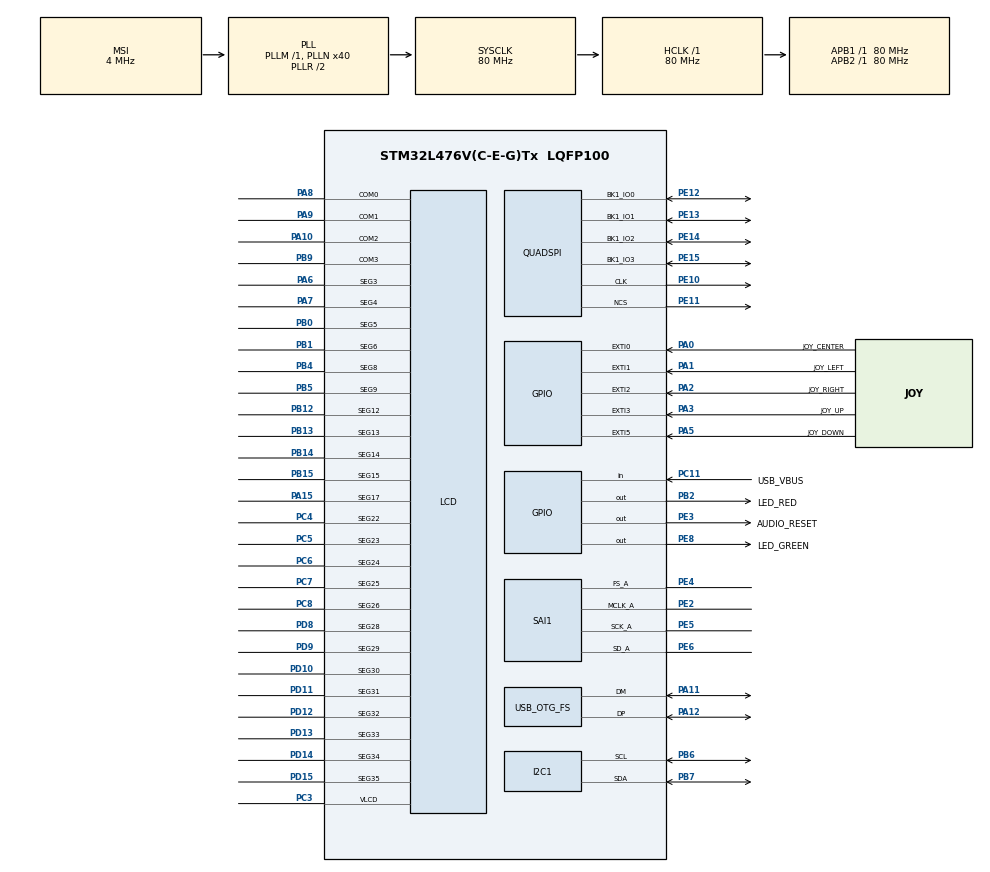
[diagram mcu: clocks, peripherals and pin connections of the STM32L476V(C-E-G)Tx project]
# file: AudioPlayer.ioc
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Dma.Request0=SAI1_A
Dma.SAI1_A.0.Direction=DMA_MEMORY_TO_PERIPH
Dma.SAI1_A.0.Instance=DMA2_Channel1
Dma.SAI1_A.0.MemDataAlignment=DMA_MDATAALIGN_HALFWORD
Dma.SAI1_A.0.MemInc=DMA_MINC_ENABLE
Dma.SAI1_A.0.Mode=DMA_CIRCULAR
Dma.SAI1_A.0.PeriphDataAlignment=DMA_PDATAALIGN_HALFWORD
Dma.SAI1_A.0.PeriphInc=DMA_PINC_DISABLE
Dma.SAI1_A.0.Priority=DMA_PRIORITY_HIGH
FATFS._MAX_SS=4096
FATFS._MIN_SS=4096
FATFS._USE_BUFF_WO_ALIGNMENT=2
FATFS._USE_ERASE=0
FREERTOS.Mutexes01=qspiMutex,Dynamic,NULL
FREERTOS.Queues01=joystickInputQueue,1,uint16_t,NULL,Dynamic,NULL,NULL
FREERTOS.Tasks01=appTask,0,4096,appTaskBody,Default,NULL,Dynamic,NULL,NULL;usbTask,2,256,usbTaskBody,Default,NULL,Dynamic,NULL,NULL;audioTask,0,1024,audioTaskBody,Default,NULL,Dynamic,NULL,NULL;displayTask,0,128,displayTaskBody,Default,NULL,Dynamic,NULL,NULL
FREERTOS.configTOTAL_HEAP_SIZE=32768
FREERTOS.configUSE_ALTERNATIVE_API=0
I2C1.I2C_Fall_Time=20
I2C1.I2C_Rise_Time=640
I2C1.OwnAddress2Masks=I2C_OA2_NOMASK
I2C1.Timing=0x40E03E53
LCD.Bias=LCD_BIAS_1_3
LCD.Contrast=LCD_CONTRASTLEVEL_5
LCD.Divider=LCD_DIVIDER_31
LCD.PulseOnDuration=LCD_PULSEONDURATION_5
Mcu.Family=STM32L4
Mcu.Name=STM32L476V(C-E-G)Tx
Mcu.Package=LQFP100
Mcu.UserConstants=A,0x1;B,0x2
NVIC.DMA2_Channel1_IRQn=true\:5\:0\:false\:false\:true\:true
NVIC.EXTI0_IRQn=true\:5\:0\:true\:false\:true\:false
NVIC.EXTI1_IRQn=true\:5\:0\:true\:false\:true\:false
NVIC.EXTI2_IRQn=true\:5\:0\:true\:false\:true\:false
NVIC.EXTI3_IRQn=true\:5\:0\:true\:false\:true\:false
NVIC.EXTI9_5_IRQn=true\:5\:0\:true\:false\:true\:false
NVIC.I2C1_ER_IRQn=true\:0\:0\:false\:false\:true\:false
NVIC.I2C1_EV_IRQn=true\:0\:0\:false\:false\:true\:false
NVIC.OTG_FS_IRQn=true\:5\:0\:false\:false\:true\:true
NVIC.PriorityGroup=NVIC_PRIORITYGROUP_4
PA0.GPIO_Label=JOY_CENTER
PA0.GPIO_PuPd=GPIO_PULLDOWN
PA0.Signal=GPXTI0
PA1.GPIO_Label=JOY_LEFT
PA1.GPIO_PuPd=GPIO_PULLDOWN
PA1.Signal=GPXTI1
PA10.Mode=1/4 Duty Cycle
PA10.Signal=LCD_COM2
PA11.Mode=Device_Only
PA11.Signal=USB_OTG_FS_DM
PA12.Mode=Device_Only
PA12.Signal=USB_OTG_FS_DP
PA13.Mode=Serial_Wire
PA13.Signal=SYS_JTMS-SWDIO
PA14.Mode=Serial_Wire
PA14.Signal=SYS_JTCK-SWCLK
PA15.Mode=SEG17
PA15.Signal=LCD_SEG17
PA2.GPIO_Label=JOY_RIGHT
PA2.GPIO_PuPd=GPIO_PULLDOWN
PA2.Signal=GPXTI2
PA3.GPIO_Label=JOY_UP
PA3.GPIO_PuPd=GPIO_PULLDOWN
PA3.Signal=GPXTI3
PA5.GPIO_Label=JOY_DOWN
PA5.GPIO_PuPd=GPIO_PULLDOWN
PA5.Signal=GPXTI5
PA6.Mode=SEG3
PA6.Signal=LCD_SEG3
PA7.Mode=SEG4
PA7.Signal=LCD_SEG4
PA8.Mode=1/4 Duty Cycle
PA8.Signal=LCD_COM0
PA9.Mode=1/4 Duty Cycle
PA9.Signal=LCD_COM1
PB0.Mode=SEG5
PB0.Signal=LCD_SEG5
PB1.Mode=SEG6
PB1.Signal=LCD_SEG6
PB12.Mode=SEG12
PB12.Signal=LCD_SEG12
PB13.Mode=SEG13
PB13.Signal=LCD_SEG13
PB14.Mode=SEG14
PB14.Signal=LCD_SEG14
PB15.Mode=SEG15
PB15.Signal=LCD_SEG15
PB2.GPIO_Label=LED_RED
PB2.Signal=GPIO_Output
PB4.Mode=SEG8
PB4.Signal=LCD_SEG8
PB5.Mode=SEG9
PB5.Signal=LCD_SEG9
PB6.Mode=I2C
PB6.Signal=I2C1_SCL
PB7.Mode=I2C
PB7.Signal=I2C1_SDA
PB9.Mode=1/4 Duty Cycle
PB9.Signal=LCD_COM3
PC11.GPIO_Label=USB_VBUS
PC11.Signal=GPIO_Input
PC14/OSC32_IN.Mode=LSE-External-Oscillator
PC14/OSC32_IN.Signal=RCC_OSC32_IN
PC15/OSC32_OUT.Mode=LSE-External-Oscillator
PC15/OSC32_OUT.Signal=RCC_OSC32_OUT
PC3.Mode=1/4 Duty Cycle
PC3.Signal=LCD_VLCD
PC4.Mode=SEG22
PC4.Signal=LCD_SEG22
PC5.Mode=SEG23
PC5.Signal=LCD_SEG23
PC6.Mode=SEG24
PC6.Signal=LCD_SEG24
PC7.Mode=SEG25
PC7.Signal=LCD_SEG25
PC8.Mode=SEG26
PC8.Signal=LCD_SEG26
PD10.Mode=SEG30
PD10.Signal=LCD_SEG30
PD11.Mode=SEG31
PD11.Signal=LCD_SEG31
PD12.Mode=SEG32
PD12.Signal=LCD_SEG32
PD13.Mode=SEG33
PD13.Signal=LCD_SEG33
PD14.Mode=SEG34
PD14.Signal=LCD_SEG34
PD15.Mode=SEG35
PD15.Signal=LCD_SEG35
PD8.Mode=SEG28
PD8.Signal=LCD_SEG28
PD9.Mode=SEG29
PD9.Signal=LCD_SEG29
PE10.Mode=Single Bank
PE10.Signal=QUADSPI_CLK
PE11.Mode=Single Bank
PE11.Signal=QUADSPI_NCS
PE12.Mode=Single Bank
PE12.Signal=QUADSPI_BK1_IO0
PE13.Mode=Single Bank
PE13.Signal=QUADSPI_BK1_IO1
PE14.Mode=Single Bank
PE14.Signal=QUADSPI_BK1_IO2
PE15.Mode=Single Bank
PE15.Signal=QUADSPI_BK1_IO3
PE2.Mode=SAI_A_MasterWithClock
PE2.Signal=SAI1_MCLK_A
PE3.GPIO_Label=AUDIO_RESET
PE3.Signal=GPIO_Output
PE4.Mode=SAI_A_MasterWithClock
PE4.Signal=SAI1_FS_A
PE5.Mode=SAI_A_MasterWithClock
PE5.Signal=SAI1_SCK_A
PE6.Mode=SAI_A_MasterWithClock
PE6.Signal=SAI1_SD_A
PE8.GPIO_Label=LED_GREEN
PE8.Signal=GPIO_Output
ProjectManager.HeapSize=0x200
ProjectManager.StackSize=0x400
ProjectManager.TargetToolchain=TrueSTUDIO
QUADSPI.ClockPrescaler-Single\ Bank=0
QUADSPI.FifoThreshold-Single\ Bank=4
QUADSPI.FlashSize-Single\ Bank=0x17
RCC.ADCFreq_Value=96000000
RCC.AHBFreq_Value=80000000
RCC.APB1Freq_Value=80000000
RCC.APB1TimFreq_Value=80000000
RCC.APB2Freq_Value=80000000
RCC.APB2TimFreq_Value=80000000
RCC.ClockTypeHCLK=RCC_CLOCKTYPE_HCLK
RCC.ClockTypePCLK1=RCC_CLOCKTYPE_PCLK1
RCC.ClockTypePCLK2=RCC_CLOCKTYPE_PCLK2
RCC.ClockTypeSysClk=RCC_CLOCKTYPE_SYSCLK
RCC.CortexFreq_Value=80000000
RCC.EnableCSSLSE=false
RCC.EnbaleCSS=false
RCC.HCLKFreq_Value=80000000
RCC.HSE_VALUE=8000000
RCC.HSI_VALUE=16000000
RCC.MSI_VALUE=4000000
RCC.PLLN=40
RCC.PLLSAI1N=48
RCC.PLLSAI1P=RCC_PLLP_DIV17
RCC.PLLSAI1Q=RCC_PLLQ_DIV4
RCC.SYSCLKFreq_VALUE=80000000
RCC.SYSCLKSource=RCC_SYSCLKSOURCE_PLLCLK
RCC.USBFreq_Value=48000000
RCC.VCOOutputFreq_Value=160000000
SAI1.ActiveFrameLength-SAI_A_MasterWithClock=16
SAI1.AudioFrequency-SAI_A_MasterWithClock=SAI_AUDIO_FREQUENCY_44K
SAI1.ClockStrobing-SAI_A_MasterWithClock=SAI_CLOCKSTROBING_RISINGEDGE
SAI1.DataSize-SAI_A_MasterWithClock=SAI_DATASIZE_16
SAI1.ErrorAudioFreq-SAI_A_MasterWithClock=-77.02 %
SAI1.FIFOThreshold-SAI_A_MasterWithClock=SAI_FIFOTHRESHOLD_1QF
SAI1.FSDefinition-SAI_A_MasterWithClock=SAI_FS_CHANNEL_IDENTIFICATION
SAI1.FSOffset-SAI_A_MasterWithClock=SAI_FS_BEFOREFIRSTBIT
SAI1.FrameLength-SAI_A_MasterWithClock=32
SAI1.Instance-SAI_A_MasterWithClock=SAI$Index_Block_A
SAI1.MClockEnable-SAI_A_MasterWithClock=SAI_MASTERCLOCK_ENABLE
SAI1.OutputDrive-SAI_A_MasterWithClock=SAI_OUTPUTDRIVE_ENABLE
SAI1.RealAudioFreq-SAI_A_MasterWithClock=44.117 KHz
SAI1.SlotActive-SAI_A_MasterWithClock=0x00000003
SAI1.SlotNumber-SAI_A_MasterWithClock=2
SAI1.Synchro-SAI_A_MasterWithClock=SAI_ASYNCHRONOUS
SAI1.VirtualMode-SAI_A_MasterWithClock=VM_MASTER
SAI1.VirtualSlotActive-SAI_A_MasterWithClock=SAI_SLOT_USERSETTING
SAI1.VirtualSlotActive0-SAI_A_MasterWithClock=true
SAI1.VirtualSlotActive1-SAI_A_MasterWithClock=true
USB_DEVICE.CLASS_NAME_FS=MSC
USB_DEVICE.MSC_MEDIA_PACKET=4096
USB_DEVICE.USBD_HandleTypeDef_FS=hUsbDevice_OTG_FS
USB_DEVICE.USBD_LPM_ENABLED=0
USB_DEVICE.VirtualMode=Msc
USB_DEVICE.VirtualModeFS=Msc_FS
USB_OTG_FS.VirtualMode=Device_Only
USB_OTG_FS.dev_endpoints=6
USB_OTG_FS.phy_itface=PCD_PHY_EMBEDDED
USB_OTG_FS.vbus_sensing_enable=DISABLE
VP_FATFS_VS_Generic.Mode=User_defined
VP_FREERTOS_VS_ENABLE.Mode=Enabled
VP_USB_DEVICE_VS_USB_DEVICE_MSC_FS.Mode=MSC_FS
board=AudioPlayer

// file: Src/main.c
/**
  ******************************************************************************
  * File Name          : main.c
  * Description        : Main program body
  ******************************************************************************
  *
  * Copyright (c) 2017 STMicroelectronics International N.V.
  * All rights reserved.
  *
  * Redistribution and use in source and binary forms, with or without
  * modification, are permitted, provided that the following conditions are met:
  *
  * 1. Redistribution of source code must retain the above copyright notice,
  *    this list of conditions and the following disclaimer.
  * 2. Redistributions in binary form must reproduce the above copyright notice,
  *    this list of conditions and the following disclaimer in the documentation
  *    and/or other materials provided with the distribution.
  * 3. Neither the name of STMicroelectronics nor the names of other
  *    contributors to this software may be used to endorse or promote products
  *    derived from this software without specific written permission.
  * 4. This software, including modifications and/or derivative works of this
  *    software, must execute solely and exclusively on microcontroller or
  *    microprocessor devices manufactured by or for STMicroelectronics.
  * 5. Redistribution and use of this software other than as permitted under
  *    this license is void and will automatically terminate your rights under
  *    this license.
  *
  * THIS SOFTWARE IS PROVIDED BY STMICROELECTRONICS AND CONTRIBUTORS "AS IS"
  * AND ANY EXPRESS, IMPLIED OR STATUTORY WARRANTIES, INCLUDING, BUT NOT
  * LIMITED TO, THE IMPLIED WARRANTIES OF MERCHANTABILITY, FITNESS FOR A
  * PARTICULAR PURPOSE AND NON-INFRINGEMENT OF THIRD PARTY INTELLECTUAL PROPERTY
  * RIGHTS ARE DISCLAIMED TO THE FULLEST EXTENT PERMITTED BY LAW. IN NO EVENT
  * SHALL STMICROELECTRONICS OR CONTRIBUTORS BE LIABLE FOR ANY DIRECT, INDIRECT,
  * INCIDENTAL, SPECIAL, EXEMPLARY, OR CONSEQUENTIAL DAMAGES (INCLUDING, BUT NOT
  * LIMITED TO, PROCUREMENT OF SUBSTITUTE GOODS OR SERVICES; LOSS OF USE, DATA,
  * OR PROFITS; OR BUSINESS INTERRUPTION) HOWEVER CAUSED AND ON ANY THEORY OF
  * LIABILITY, WHETHER IN CONTRACT, STRICT LIABILITY, OR TORT (INCLUDING
  * NEGLIGENCE OR OTHERWISE) ARISING IN ANY WAY OUT OF THE USE OF THIS SOFTWARE,
  * EVEN IF ADVISED OF THE POSSIBILITY OF SUCH DAMAGE.
  *
  ******************************************************************************
  */
#include "main.h"
#include "stm32l4xx_hal.h"
#include "cmsis_os.h"
#include "dma.h"
#include "fatfs.h"
#include "i2c.h"
#include "lcd.h"
#include "quadspi.h"
#include "sai.h"
#include "usb_device.h"
#include "gpio.h"

/* USER CODE BEGIN PV */
/* Private variables ---------------------------------------------------------*/

/* USER CODE END PV */

void SystemClock_Config(void);
void Error_Handler(void);
void MX_FREERTOS_Init(void);

/* USER CODE BEGIN PFP */
/* Private function prototypes -----------------------------------------------*/

/* USER CODE END PFP */

int main(void)
{

  /* MCU Configuration----------------------------------------------------------*/

  /* Reset of all peripherals, Initializes the Flash interface and the Systick. */
  HAL_Init();

  /* Configure the system clock */
  SystemClock_Config();

  /* Initialize all configured peripherals */
  MX_GPIO_Init();
  MX_DMA_Init();
  MX_QUADSPI_Init();
  MX_I2C1_Init();
  MX_SAI1_Init();
  MX_LCD_Init();

  /* Call init function for freertos objects (in freertos.c) */
  MX_FREERTOS_Init();

  /* Start scheduler */
  osKernelStart();

  /* We should never get here as control is now taken by the scheduler */

  /* Infinite loop */
  while (1)
  {

  }

}

/** System Clock Configuration
*/
void SystemClock_Config(void)
{

  RCC_OscInitTypeDef RCC_OscInitStruct;
  RCC_ClkInitTypeDef RCC_ClkInitStruct;
  RCC_PeriphCLKInitTypeDef PeriphClkInit;

    /**Initializes the CPU, AHB and APB busses clocks
    */
  RCC_OscInitStruct.OscillatorType = RCC_OSCILLATORTYPE_LSI|RCC_OSCILLATORTYPE_LSE
                              |RCC_OSCILLATORTYPE_MSI;
  RCC_OscInitStruct.LSEState = RCC_LSE_ON;
  RCC_OscInitStruct.LSIState = RCC_LSI_ON;
  RCC_OscInitStruct.MSIState = RCC_MSI_ON;
  RCC_OscInitStruct.MSICalibrationValue = 0;
  RCC_OscInitStruct.MSIClockRange = RCC_MSIRANGE_6;
  RCC_OscInitStruct.PLL.PLLState = RCC_PLL_ON;
  RCC_OscInitStruct.PLL.PLLSource = RCC_PLLSOURCE_MSI;
  RCC_OscInitStruct.PLL.PLLM = 1;
  RCC_OscInitStruct.PLL.PLLN = 40;
  RCC_OscInitStruct.PLL.PLLP = RCC_PLLP_DIV7;
  RCC_OscInitStruct.PLL.PLLQ = RCC_PLLQ_DIV2;
  RCC_OscInitStruct.PLL.PLLR = RCC_PLLR_DIV2;
  if (HAL_RCC_OscConfig(&RCC_OscInitStruct) != HAL_OK)
  {
    Error_Handler();
  }

    /**Initializes the CPU, AHB and APB busses clocks
    */
  RCC_ClkInitStruct.ClockType = RCC_CLOCKTYPE_HCLK|RCC_CLOCKTYPE_SYSCLK
                              |RCC_CLOCKTYPE_PCLK1|RCC_CLOCKTYPE_PCLK2;
  RCC_ClkInitStruct.SYSCLKSource = RCC_SYSCLKSOURCE_PLLCLK;
  RCC_ClkInitStruct.AHBCLKDivider = RCC_SYSCLK_DIV1;
  RCC_ClkInitStruct.APB1CLKDivider = RCC_HCLK_DIV1;
  RCC_ClkInitStruct.APB2CLKDivider = RCC_HCLK_DIV1;

  if (HAL_RCC_ClockConfig(&RCC_ClkInitStruct, FLASH_LATENCY_4) != HAL_OK)
  {
    Error_Handler();
  }

  PeriphClkInit.PeriphClockSelection = RCC_PERIPHCLK_RTC|RCC_PERIPHCLK_SAI1
                              |RCC_PERIPHCLK_I2C1|RCC_PERIPHCLK_USB;
  PeriphClkInit.I2c1ClockSelection = RCC_I2C1CLKSOURCE_PCLK1;
  PeriphClkInit.Sai1ClockSelection = RCC_SAI1CLKSOURCE_PLLSAI1;
  PeriphClkInit.RTCClockSelection = RCC_RTCCLKSOURCE_LSI;
  PeriphClkInit.UsbClockSelection = RCC_USBCLKSOURCE_PLLSAI1;
  PeriphClkInit.PLLSAI1.PLLSAI1Source = RCC_PLLSOURCE_MSI;
  PeriphClkInit.PLLSAI1.PLLSAI1M = 1;
  PeriphClkInit.PLLSAI1.PLLSAI1N = 48;
  PeriphClkInit.PLLSAI1.PLLSAI1P = RCC_PLLP_DIV17;
  PeriphClkInit.PLLSAI1.PLLSAI1Q = RCC_PLLQ_DIV4;
  PeriphClkInit.PLLSAI1.PLLSAI1R = RCC_PLLR_DIV2;
  PeriphClkInit.PLLSAI1.PLLSAI1ClockOut = RCC_PLLSAI1_SAI1CLK|RCC_PLLSAI1_48M2CLK;
  if (HAL_RCCEx_PeriphCLKConfig(&PeriphClkInit) != HAL_OK)
  {
    Error_Handler();
  }

    /**Configure LSE Drive Capability
    */
  __HAL_RCC_LSEDRIVE_CONFIG(RCC_LSEDRIVE_LOW);

    /**Configure the main internal regulator output voltage
    */
  if (HAL_PWREx_ControlVoltageScaling(PWR_REGULATOR_VOLTAGE_SCALE1) != HAL_OK)
  {
    Error_Handler();
  }

    /**Configure the Systick interrupt time
    */
  HAL_SYSTICK_Config(HAL_RCC_GetHCLKFreq()/1000);

    /**Configure the Systick
    */
  HAL_SYSTICK_CLKSourceConfig(SYSTICK_CLKSOURCE_HCLK);

    /**Enable MSI Auto calibration
    */
  HAL_RCCEx_EnableMSIPLLMode();

  /* SysTick_IRQn interrupt configuration */
  HAL_NVIC_SetPriority(SysTick_IRQn, 15, 0);
}

//void Error_Handler(void)
//{
//  /* USER CODE BEGIN Error_Handler */
//  /* User can add his own implementation to report the HAL error return state */
//  while(1)
//  {
//  }
//  /* USER CODE END Error_Handler */
//}

/************************ (C) COPYRIGHT STMicroelectronics *****END OF FILE****/

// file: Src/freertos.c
/**
  ******************************************************************************
  * File Name          : freertos.c
  * Description        : Code for freertos applications
  ******************************************************************************
  *
  * COPYRIGHT(c) 2015 STMicroelectronics
  *
  * Redistribution and use in source and binary forms, with or without modification,
  * are permitted provided that the following conditions are met:
  *   1. Redistributions of source code must retain the above copyright notice,
  *      this list of conditions and the following disclaimer.
  *   2. Redistributions in binary form must reproduce the above copyright notice,
  *      this list of conditions and the following disclaimer in the documentation
  *      and/or other materials provided with the distribution.
  *   3. Neither the name of STMicroelectronics nor the names of its contributors
  *      may be used to endorse or promote products derived from this software
  *      without specific prior written permission.
  *
  * THIS SOFTWARE IS PROVIDED BY THE COPYRIGHT HOLDERS AND CONTRIBUTORS "AS IS"
  * AND ANY EXPRESS OR IMPLIED WARRANTIES, INCLUDING, BUT NOT LIMITED TO, THE
  * IMPLIED WARRANTIES OF MERCHANTABILITY AND FITNESS FOR A PARTICULAR PURPOSE ARE
  * DISCLAIMED. IN NO EVENT SHALL THE COPYRIGHT HOLDER OR CONTRIBUTORS BE LIABLE
  * FOR ANY DIRECT, INDIRECT, INCIDENTAL, SPECIAL, EXEMPLARY, OR CONSEQUENTIAL
  * DAMAGES (INCLUDING, BUT NOT LIMITED TO, PROCUREMENT OF SUBSTITUTE GOODS OR
  * SERVICES; LOSS OF USE, DATA, OR PROFITS; OR BUSINESS INTERRUPTION) HOWEVER
  * CAUSED AND ON ANY THEORY OF LIABILITY, WHETHER IN CONTRACT, STRICT LIABILITY,
  * OR TORT (INCLUDING NEGLIGENCE OR OTHERWISE) ARISING IN ANY WAY OUT OF THE USE
  * OF THIS SOFTWARE, EVEN IF ADVISED OF THE POSSIBILITY OF SUCH DAMAGE.
  *
  ******************************************************************************
  */

#include "FreeRTOS.h"
#include "task.h"
#include "cmsis_os.h"

/* USER CODE BEGIN Includes */

#include "stm32l4xx_hal.h"
#include "mxconstants.h"
#include "usbd_core.h"
#include "usb_device.h"
#include "fatfs.h"
#include "sai.h"
#include "i2c.h"
#include "lcd.h"

/* USER CODE END Includes */

osThreadId appTaskHandle;
osThreadId usbTaskHandle;
osThreadId audioTaskHandle;
osThreadId displayTaskHandle;
osMessageQId joystickInputQueueHandle;
osMutexId qspiMutexHandle;

/* USER CODE BEGIN Variables */

#define AUDIO_BUFFER_SIZE          (1024 * 8)       /* Size (in bytes) of the buffer containing the PCM samples */
#define WAV_FILE_HEADER_SIZE        44              /* Size (in bytes) of a WAV header */

typedef enum {
  AUDIOPLAYER_STATE_STOPPED = 0,
  AUDIOPLAYER_STATE_RUNNING,
  AUDIOPLAYER_STATE_PAUSED
} AudioPlayer_StateTypeDef;

FIL                       File;
FATFS                     FatFs;
uint8_t                   Buffer[AUDIO_BUFFER_SIZE];    // Buffer containig the PCM samples to play
uint32_t                  ActualPosition;               // Actual read offset
AudioPlayer_StateTypeDef  AppState = AUDIOPLAYER_STATE_STOPPED;

/* USER CODE END Variables */

void appTaskBody(void const * argument);
void usbTaskBody(void const * argument);
void audioTaskBody(void const * argument);
void displayTaskBody(void const * argument);

extern void MX_FATFS_Init(void);
extern void MX_USB_DEVICE_Init(void);
void MX_FREERTOS_Init(void); /* (MISRA C 2004 rule 8.1) */

/* USER CODE BEGIN FunctionPrototypes */

void Error_Handler(void);

static void AudioPlayer_Start(void);
static void AudioPlayer_Pause(void);
static void AudioPlayer_Stop(void);
static void AudioPlayer_Resume(void);

/* USER CODE END FunctionPrototypes */

/* Hook prototypes */

/* Init FreeRTOS */

void MX_FREERTOS_Init(void) {

  /* Create the mutex(es) */
  /* definition and creation of qspiMutex */
  osMutexDef(qspiMutex);
  qspiMutexHandle = osMutexCreate(osMutex(qspiMutex));

  /* Create the thread(s) */
  /* definition and creation of appTask */
  osThreadDef(appTask, appTaskBody, osPriorityNormal, 0, 4096);
  appTaskHandle = osThreadCreate(osThread(appTask), NULL);

  /* definition and creation of usbTask */
  osThreadDef(usbTask, usbTaskBody, osPriorityHigh, 0, 256);
  usbTaskHandle = osThreadCreate(osThread(usbTask), NULL);

  /* definition and creation of audioTask */
  osThreadDef(audioTask, audioTaskBody, osPriorityNormal, 0, 1024);
  audioTaskHandle = osThreadCreate(osThread(audioTask), NULL);

  /* definition and creation of displayTask */
  osThreadDef(displayTask, displayTaskBody, osPriorityNormal, 0, 128);
  displayTaskHandle = osThreadCreate(osThread(displayTask), NULL);

  /* Create the queue(s) */
  /* definition and creation of joystickInputQueue */
  osMessageQDef(joystickInputQueue, 1, uint16_t);
  joystickInputQueueHandle = osMessageCreate(osMessageQ(joystickInputQueue), NULL);

}

/* appTaskBody function */
void appTaskBody(void const * argument)
{
  /* init code for FATFS */
  MX_FATFS_Init();

  /* init code for USB_DEVICE */
  //MX_USB_DEVICE_Init();

  /* USER CODE BEGIN appTaskBody */

  osEvent event;

  /* Wait for the qspiMutex */
  osMutexWait(qspiMutexHandle, osWaitForever);

  /* Register the file system object to the FatFs module */
  if(f_mount(&FatFs, (TCHAR const*)USER_Path, 1) != FR_OK)
  {
    /* FatFs Initialization Error */
    if (f_mkfs((TCHAR const*)USER_Path, 0, 128) != FR_OK)
    {
      Error_Handler();
    }
    else {
      /* Second trial to register the file system object */
      if(f_mount(&FatFs, (TCHAR const*)USER_Path, 1) != FR_OK)
      {
        Error_Handler();
      }
    }
  }

  /* FatFS file write test */
  if(f_open(&File, "FATFSOK", FA_CREATE_NEW | FA_WRITE) == FR_OK)
  {
    f_printf(&File, "FatFS is working properly.\n");
    f_close(&File);
  }

  /* Release the qspiMutex */
  osMutexRelease(qspiMutexHandle);

  /* Initialize audio driver */
  if(CS43L22_ID != AUDIO_ReadID(AUDIO_I2C_ADDRESS))
  {
    Error_Handler();
  }
  if(0 != AUDIO_Init(AUDIO_I2C_ADDRESS, OUTPUT_DEVICE_HEADPHONE, 60, AUDIO_FREQUENCY_44K))
  {
    Error_Handler();
  }

  /* Infinite loop */
  for(;;)
  {
    /* Wait for the joystick button press */
    event = osMessageGet(joystickInputQueueHandle, osWaitForever);

    if (event.status == osEventMessage)
    {
      switch(AppState)
      {
      case AUDIOPLAYER_STATE_STOPPED:
        switch(event.value.v)
        {
        case JOY_RIGHT_Pin:
          AudioPlayer_Start();
          break;
        default:
          break;
        }
        break;
      case AUDIOPLAYER_STATE_RUNNING:
        switch(event.value.v)
        {
        case JOY_CENTER_Pin:
          AudioPlayer_Pause();
          break;
        case JOY_LEFT_Pin:
          AudioPlayer_Stop();
          break;
        default:
          break;
        }
        break;
      case AUDIOPLAYER_STATE_PAUSED:
        switch(event.value.v)
        {
        case JOY_RIGHT_Pin:
          AudioPlayer_Resume();
          break;
        case JOY_LEFT_Pin:
          AudioPlayer_Stop();
          break;
        default:
          break;
        }
        break;
      default:
        break;
      }
    }
  }
  /* USER CODE END appTaskBody */
}

/* usbTaskBody function */
void usbTaskBody(void const * argument)
{
  /* USER CODE BEGIN usbTaskBody */
  uint32_t USB_VBUS_counter = 0;

  /* Infinite loop */
  for(;;)
  {
    USB_VBUS_counter = 0;
    /* USB_VBUS availability check */
    while (USB_VBUS_counter < 5)
    {
      osDelay(10);
      if (HAL_GPIO_ReadPin(USB_VBUS_GPIO_Port, USB_VBUS_Pin) != GPIO_PIN_RESET)
      {
        USB_VBUS_counter++;
      }
      else {
        break;
      }
    }
    if(USB_VBUS_counter >= 5)
    {
      /* STOP the audio player, if it is running */
      if (AppState != AUDIOPLAYER_STATE_STOPPED)
      {
        AudioPlayer_Stop();
      }

      /* Wait for the qspiMutex */
      osMutexWait(qspiMutexHandle, osWaitForever);

      /* Initialize USB peripheral */
      MX_USB_DEVICE_Init();

      /* RED LED ON */
      HAL_GPIO_WritePin(LED_RED_GPIO_Port, LED_RED_Pin, GPIO_PIN_SET);

      /* USB_VBUS availability check */
      while (USB_VBUS_counter)
      {
        /* Wait 100ms, then check the USB_VBUS availability */
        osDelay(100);

        if (HAL_GPIO_ReadPin(USB_VBUS_GPIO_Port, USB_VBUS_Pin) == GPIO_PIN_RESET)
        {
          USB_VBUS_counter--;
        }
        else {
          USB_VBUS_counter = 5;
        }
      }

      /* Deinitialize USB peripheral */
      USBD_DeInit(&hUsbDeviceFS);

      /* Release the qspiMutex */
      osMutexRelease(qspiMutexHandle);

      /* RED LED OFF */
      HAL_GPIO_WritePin(LED_RED_GPIO_Port, LED_RED_Pin, GPIO_PIN_RESET);
    }
    /* Every 1s we will check if USB_VBUS is available */
    osDelay(1000);
  }
  /* USER CODE END usbTaskBody */
}

/* audioTaskBody function */
void audioTaskBody(void const * argument)
{
  /* USER CODE BEGIN audioTaskBody */
  uint32_t bufferOffset = 0;
  uint32_t bytesRead = 0;
  osEvent event;

  /* Pause this task execution */
  osThreadSuspend(NULL);

  /* Infinite loop */
  for(;;)
  {
    event = osSignalWait(A | B, osWaitForever);
    if( event.status == osEventSignal )
    {
      switch(event.value.v)
      {
      case B:
        bufferOffset = AUDIO_BUFFER_SIZE/2;
        break;
      case A:
        bufferOffset = 0;
        break;
      default:
        /* We were not fast enough to deliver new data => clean the buffer => speed up SYSCLK */
        break;
      }

      /* Wait for the qspiMutex */
      osMutexWait(qspiMutexHandle, osWaitForever);

      /* Fill in the buffer with new data */
      if (f_read(&File, (uint8_t *)(Buffer + bufferOffset), AUDIO_BUFFER_SIZE/2, &bytesRead) != FR_OK)
      {
        Error_Handler();
      }

      /* Some processing of the audio data could be added here */

      /* GREEN LED ON */
      HAL_GPIO_TogglePin(LED_GREEN_GPIO_Port, LED_GREEN_Pin);

      ActualPosition += bytesRead;

      /* Check the end of the file */
      if((ActualPosition + (AUDIO_BUFFER_SIZE/2)) > File.fsize)
      {
        if (f_rewind(&File) != FR_OK)
        {
          Error_Handler();
        }

        if (f_lseek(&File, WAV_FILE_HEADER_SIZE) != FR_OK)
        {
          Error_Handler();
        }

        /* Skip the WAV header - this we don't want to listen to :) */
        ActualPosition = WAV_FILE_HEADER_SIZE;
      }

      /* Release the qspiMutex */
      osMutexRelease(qspiMutexHandle);
    }
    else {
      /* Don't care now (not implemented) */
    }
  }
  /* USER CODE END audioTaskBody */
}

/* displayTaskBody function */
void displayTaskBody(void const * argument)
{
  /* USER CODE BEGIN displayTaskBody */
  uint32_t timeout = 100;
  uint32_t prevAppState = -1;

  /* Infinite loop */
  for(;;)
  {
    if (prevAppState != AppState)
    {
      switch(AppState)
      {
      case AUDIOPLAYER_STATE_STOPPED:
        LCD_GLASS_Clear();
        LCD_GLASS_DisplayString("STOPPD");
        break;
      case AUDIOPLAYER_STATE_RUNNING:
        LCD_GLASS_Clear();
        LCD_GLASS_DisplayString("PLAYIN");
        break;
      case AUDIOPLAYER_STATE_PAUSED:
        LCD_GLASS_Clear();
        LCD_GLASS_DisplayString("PAUSED");
        break;
      default:
        Error_Handler();
        break;
      }
    }
    else {
      /* Add some animations or display content changes depending on the App State */
    }

    prevAppState = AppState;

    osDelay(timeout);
  }
  /* USER CODE END displayTaskBody */
}

/* USER CODE BEGIN Application */

/**
  * @brief Application Error Handler
  * @param  None
  * @retval None
  */
void Error_Handler(void)
{
  while(1)
  {
    /* Error management behavior to be added here */
  }
}

/**
  * @brief Tx Transfer completed callbacks.
  * @param  hsai : pointer to a SAI_HandleTypeDef structure that contains
  *                the configuration information for SAI module.
  * @retval None
  */
void HAL_SAI_TxCpltCallback(SAI_HandleTypeDef *hsai)
{
  /* NOTE : This function Should not be modified, when the callback is needed,
            the HAL_SAI_TxCpltCallback could be implemented in the user file
   */
  osSignalSet(audioTaskHandle, B);
}

/**
  * @brief Tx Transfer Half completed callbacks
  * @param  hsai : pointer to a SAI_HandleTypeDef structure that contains
  *                the configuration information for SAI module.
  * @retval None
  */
void HAL_SAI_TxHalfCpltCallback(SAI_HandleTypeDef *hsai)
{
  /* NOTE : This function Should not be modified, when the callback is needed,
            the HAL_SAI_TxHalfCpltCallback could be implenetd in the user file
   */
  osSignalSet(audioTaskHandle, A);
}

/**
  * @brief  GPIO EXTI Callback function
  *         Handle USB VBUS detection upon External interrupt
  * @param  GPIO_Pin
  * @retval None
  */
void HAL_GPIO_EXTI_Callback(uint16_t GPIO_Pin)
{
  switch (GPIO_Pin)
  {
  case JOY_CENTER_Pin:
    osMessagePut(joystickInputQueueHandle, JOY_CENTER_Pin, 0);
    break;
  case JOY_LEFT_Pin:
    osMessagePut(joystickInputQueueHandle, JOY_LEFT_Pin, 0);
    break;
  case JOY_RIGHT_Pin:
    osMessagePut(joystickInputQueueHandle, JOY_RIGHT_Pin, 0);
    break;
  case JOY_UP_Pin:
    osMessagePut(joystickInputQueueHandle, JOY_UP_Pin, 0);
    break;
  case JOY_DOWN_Pin:
    osMessagePut(joystickInputQueueHandle, JOY_DOWN_Pin, 0);
    break;
  default:
    Error_Handler();
    break;
  }
}

/**
  * @brief AudioPlayer Start method
  * @param  None
  * @retval None
  */
static void AudioPlayer_Start(void)
{
  /* Wake-Up external audio Codec and enable output */
  if(0 != AUDIO_Play(AUDIO_I2C_ADDRESS, NULL, 0))
  {
    Error_Handler();
  }

  /* Wait for the qspiMutex */
  osMutexWait(qspiMutexHandle, osWaitForever);

  /* Create and Open a new text file object with write access */
  if(f_open(&File, (TCHAR const*)"audio.wav", FA_READ) != FR_OK)
  {
    Error_Handler();
  }

  /* Skip the WAV header - this we don't want to listen to :) */
  ActualPosition = WAV_FILE_HEADER_SIZE;

  /* Move file pointer to appropriate address - keep in mind that the file consists of many blocks in sectors */
  if (f_lseek(&File, WAV_FILE_HEADER_SIZE) != FR_OK)
  {
    Error_Handler();
  }

  /* Release the qspiMutex */
  osMutexRelease(qspiMutexHandle);

  /* Start the SAI DMA transfer from the Buffer */
  if(HAL_OK != HAL_SAI_Transmit_DMA(&hsai_BlockA1, (uint8_t *)Buffer, AUDIO_BUFFER_SIZE/2))
  {
    Error_Handler();
  }

  /* Change the application state */
  AppState = AUDIOPLAYER_STATE_RUNNING;

  /* Resume audioTask */
  osThreadResume(audioTaskHandle);
}

/**
  * @brief AudioPlayer Resume method
  * @param  None
  * @retval None
  */
static void AudioPlayer_Resume(void)
{
  /* Resume DMA transfer */
  if (HAL_SAI_DMAResume(&hsai_BlockA1) != HAL_OK)
  {
    Error_Handler();
  }
  /* Resume the playback */
  if (AUDIO_Resume(AUDIO_I2C_ADDRESS) != 0)
  {
    Error_Handler();
  }

  AppState = AUDIOPLAYER_STATE_RUNNING;

  /* Resume audioTask */
  osThreadResume(audioTaskHandle);
}

/**
  * @brief AudioPlayer Pause method
  * @param  None
  * @retval None
  */
static void AudioPlayer_Pause(void)
{
  /* Stop the playback */
  if (AUDIO_Pause(AUDIO_I2C_ADDRESS) != 0)
  {
    Error_Handler();
  }
  /* Stop DMA transfer */
  if (HAL_SAI_DMAPause(&hsai_BlockA1) != HAL_OK)
  {
    Error_Handler();
  }

  /* Wait for the qspiMutex */
  osMutexWait(qspiMutexHandle, osWaitForever);

  /* Pause the audioTask */
  osThreadSuspend(audioTaskHandle);

  /* Release the qspiMutex */
  osMutexRelease(qspiMutexHandle);

  /* Turn OFF the PLAY signaling LED */
  HAL_GPIO_WritePin(LED_GREEN_GPIO_Port, LED_GREEN_Pin, GPIO_PIN_RESET);

  AppState = AUDIOPLAYER_STATE_PAUSED;
}

/**
  * @brief AudioPlayer Stop method
  * @param  None
  * @retval None
  */
static void AudioPlayer_Stop(void)
{
  /* Stop the playback */
  if (AUDIO_Stop(AUDIO_I2C_ADDRESS, CODEC_PDWN_SW) != 0)
  {
    Error_Handler();
  }
  /* Stop DMA transfer */
  if (HAL_SAI_DMAStop(&hsai_BlockA1) != HAL_OK)
  {
    Error_Handler();
  }

  /* Wait for the qspiMutex */
  osMutexWait(qspiMutexHandle, osWaitForever);

  /* Pause the audioTask */
  osThreadSuspend(audioTaskHandle);

  /* Close the Audio file */
  if(f_close(&File) != FR_OK)
  {
    Error_Handler();
  }

  /* Release the qspiMutex */
  osMutexRelease(qspiMutexHandle);

  /* Turn OFF the PLAY signaling LED */
  HAL_GPIO_WritePin(LED_GREEN_GPIO_Port, LED_GREEN_Pin, GPIO_PIN_RESET);

  AppState = AUDIOPLAYER_STATE_STOPPED;
}

/* USER CODE END Application */

/************************ (C) COPYRIGHT STMicroelectronics *****END OF FILE****/
